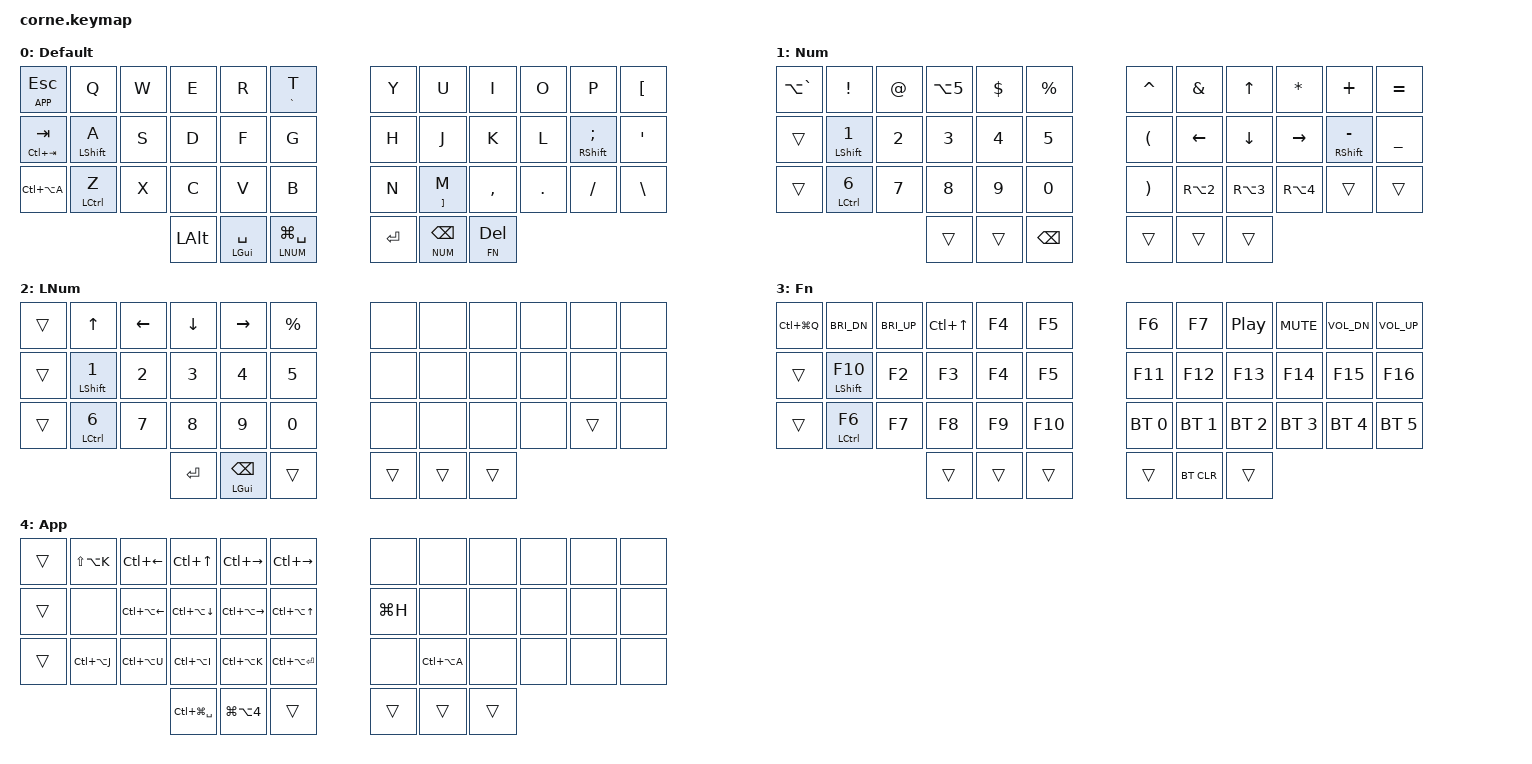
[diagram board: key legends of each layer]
/*
 * Copyright (c) 2020 The ZMK Contributors
 *
 * SPDX-License-Identifier: MIT
 */

#include <behaviors.dtsi>
#include <dt-bindings/zmk/keys.h>   
#include <dt-bindings/zmk/bt.h>
#include <dt-bindings/zmk/outputs.h>

/* Слои клавиатуры */
#define DEFAULT 0  // Базовый слой
#define NUM     1  // Слой с цифрами
#define LNUM    2  // Альтернативный слой с цифрами (левая рука)
#define FN      3  // Функциональный слой
#define APP     4  // Слой для приложений
// #define SYSTEM  5  // Системный слой

/* Настройка параметров удержания/тапа */
&lt { quick-tap-ms = <200>; };
&mt { quick-tap-ms = <200>; };

/ {

    macros {
    arrow_right: arrow_right {
        compatible = "zmk,behavior-macro";
        #binding-cells = <0>;
        wait-ms = <30>;
        tap-ms = <30>;
        bindings
            = <&kp MINUS>
            , <&kp LA(DOT)>
            ;
        };
    };
    combos {
        compatible = "zmk,combos";
        
        /* Комбо для клавиш F и J, теперь включает Caps Word */
        combo_capslock_fj {
            timeout-ms = <40>;
            key-positions = <16 19>;
            bindings = <&caps_word>;
        };
        
        // /* Комбо для клавиш A и SEMI, используемое для активации capslock */
        // combo_caps_asemi {
        //     timeout-ms = <40>;
        //     key-positions = <13 22>;
        //     bindings = <&kp CAPSLOCK>;
        // };

        /* D + F → -> */
        combo_lpar {
            timeout-ms = <40>;
            key-positions = <15 16>;
            bindings = <&arrow_right>; 
        };

        /* J + K → Left Alt + MINUS */ 
        combo_rpar {
            timeout-ms = <40>;
            key-positions = <19 20>;
            bindings = <&kp LA(MINUS)>;
        };

        /* K + L → Left Alt + MINUS */
        combo_minus {
            timeout-ms = <40>;
            key-positions = <20 21>;
            bindings = <&kp LA(MINUS)>;
        };

        /* "E + R" = "[" */
        combo_lbkt {
            timeout-ms = <40>;
            key-positions = <3 4>;
            bindings = <&kp LA(SEMI)>;
        };

        /* "U + I" = "]" */
        combo_rbkt {
            timeout-ms = <40>;
            key-positions = <7 8>;
            bindings = <&kp LA(APOS)>;
        };

        /* "C + V" → "{" */
        combo_lbrc {
            timeout-ms = <40>;
            key-positions = <27 28>;
            bindings = <&kp LA(LBKT)>;
        };

        /* "M + ." → "}" */
        combo_rbrc {
            timeout-ms = <40>;
            key-positions = <31 32>;
            bindings = <&kp LA(RBKT)>;
        };
    };

    behaviors {
        /* Модификатор для клавиши Grave/Escape */
        graves: grave_escape {
            compatible = "zmk,behavior-mod-morph";
            #binding-cells = <0>;
            bindings = <&lhp APP GRAVE>, <&kp ESC>;
            mods = <(MOD_LGUI|MOD_RGUI)>;
        };
        
        /* Модификаторы для домашнего ряда (HOMEROW) */
        hm: homerow_mods {
            compatible = "zmk,behavior-hold-tap";
            #binding-cells = <2>;
            tapping-term-ms = <300>;
            quick-tap-ms = <300>;
            flavor = "tap-preferred";
            bindings = <&kp>, <&kp>;
        };

        /* Модификаторы для домашнего ряда без быстрого тапа */
        hmt: homerow_mods_no_quicktap {
            compatible = "zmk,behavior-hold-tap";
            #binding-cells = <2>;
            tapping-term-ms = <200>;
            quick-tap-ms = <200>;
            flavor = "balanced";
            bindings = <&kp>, <&kp>;
        };

        /* Приоритет тапа для переключения слоёв */
        ltp: layer_tap_prefered {
            compatible = "zmk,behavior-hold-tap";
            #binding-cells = <2>;
            tapping-term-ms = <300>;
            quick-tap-ms = <300>;
            flavor = "tap-preferred";
            bindings = <&mo>, <&kp>;
        };

        /* Приоритет удержания для переключения слоёв */
        lhp: layer_hold_prefered {
            compatible = "zmk,behavior-hold-tap";
            #binding-cells = <2>;
            tapping-term-ms = <250>;
            flavor = "hold-preferred";
            bindings = <&mo>, <&kp>;
        };
    };

    keymap {
        compatible = "zmk,keymap";

        /* Основной слой клавиатуры */
        default_layer {
            label = "Default";
            bindings = <
                // &graves                &kp Q          &kp W        &kp E   &kp R   &hm GRAVE T        &kp Y        &kp U      &kp I         &kp O      &kp P             &kp LBKT
               &lhp APP ESC           &kp Q          &kp W        &kp E   &kp R   &hm GRAVE T        &kp Y        &kp U      &kp I         &kp O      &kp P             &kp LBKT
                &hm LC(TAB) TAB        &hm LSHFT A    &kp S        &kp D   &kp F   &kp G         &kp H        &kp J      &kp K         &kp L      &hm RSHFT SEMI    &kp APOS
                &kp LC(LA(A))          &hm LCTRL Z    &kp X        &kp C   &kp V   &kp B         &kp N        &hm RBKT M      &kp COMMA     &kp DOT    &kp FSLH          &kp BSLH
                                       &kp LALT       &hm LGUI SPACE   &ltp LNUM LG(SPACE)       &kp ENTER   &lhp NUM BSPC     &ltp FN DEL
            >;
        };

        /* Слой с цифрами и символами */
        num_layer {
            label = "Num";
            bindings = <
                &kp LA(GRAVE) &kp EXCL &kp AT &kp LA(N5) &kp DLLR &kp PERCENT        &kp CARET      &kp AMPS      &kp UP      &kp STAR      &kp PLUS           &kp EQUAL
                &trans        &hm LSHFT N1 &kp N2 &kp N3 &kp N4 &kp N5             &kp LPAR       &kp LEFT      &kp DOWN    &kp RIGHT     &hm RSHFT MINUS    &kp UNDER
                &trans        &hm LCTRL N6 &kp N7 &kp N8 &kp N9 &kp N0             &kp RPAR       &kp RA(N2)    &kp RA(N3)  &kp RA(N4)    &trans             &trans
                              &trans        &trans        &kp BSPC                 &trans         &trans        &trans
            >;
        };

        /* Альтернативный слой цифр (для левой руки) */
        lnum_layer {
            label = "LNum";
            bindings = <
                &trans     &kp UP     &kp LEFT  &kp DOWN  &kp RIGHT   &kp PERCENT       &none     &none       &none     &none       &none       &none
                &trans     &hm LSHFT N1 &kp N2 &kp N3 &kp N4 &kp N5                     &none     &none       &none     &none       &none       &none
                &trans     &hm LCTRL N6 &kp N7 &kp N8 &kp N9 &kp N0                     &none     &none       &none     &none       &trans      &none
                                         &kp ENTER  &hm LGUI BSPC  &trans               &trans    &trans      &trans
            >;
        };

        /* Функциональный слой */
        fn_layer {
            label = "Fn";
            bindings = <
                &kp LC(LG(Q))  &kp C_BRI_DN  &kp C_BRI_UP  &kp LC(UP)  &kp F4       &kp F5   &kp F6          &kp F7          &kp C_PP        &kp C_MUTE      &kp C_VOL_DN  &kp C_VOL_UP
                &trans         &hm LSHFT F10 &kp F2        &kp F3      &kp F4       &kp F5   &kp F11         &kp F12         &kp F13         &kp F14         &kp F15        &kp F16
                &trans         &hm LCTRL F6  &kp F7        &kp F8      &kp F9       &kp F10  &bt BT_SEL 0    &bt BT_SEL 1    &bt BT_SEL 2    &bt BT_SEL 3    &bt BT_SEL 4  &bt BT_SEL 5
                                             &trans        &trans      &trans       &trans   &bt BT_CLR      &trans
            >;
        };

        /* Слой для приложений с специфическими сочетаниями клавиш */
        app_layer {
            label = "App";
            bindings = <
                &trans  &kp LS(LA(K))   &kp LC(LEFT)         &kp LC(UP)              &kp LC(RIGHT)            &kp LC(RIGHT)      &none   &none           &none     &none       &none         &none
                &trans  &none              &kp LC(LA(LEFT))     &kp LC(LA(DOWN))        &kp LC(LA(RIGHT))        &kp LC(LA(UP))     &kp LG(H)   &none       &none     &none       &none         &none
                &trans  &kp LC(LA(J))      &kp LC(LA(U))        &kp LC(LA(I))           &kp LC(LA(K))            &kp LC(LA(ENTER))  &none   &kp LC(LA(A))   &none     &none       &none         &none
                        &kp LC(LG(SPACE))  &kp LG(LA(N4))       &trans                                                               &trans  &trans         &trans
            >;
        };
    };
};
